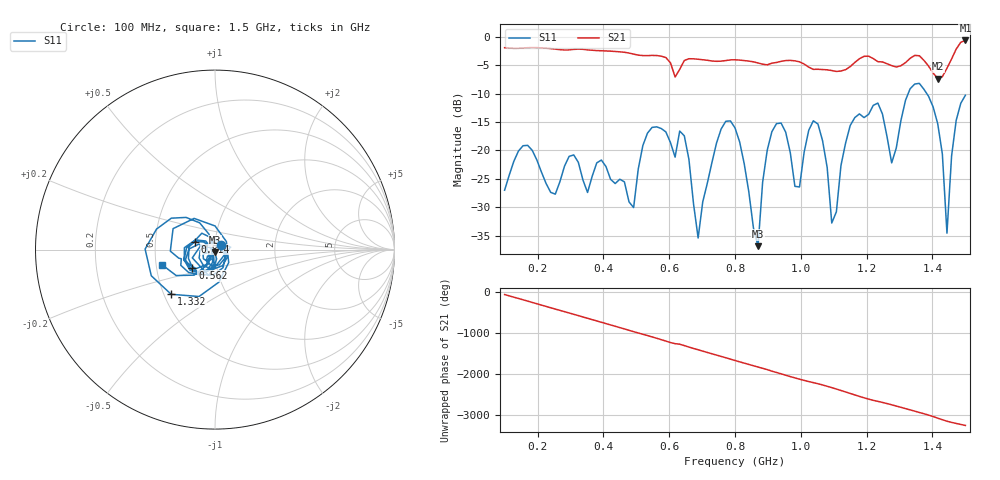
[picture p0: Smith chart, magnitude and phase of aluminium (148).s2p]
! NanoVNA-App
! Date: 2025-09-25 14:56:26
! Start: 100MHz Stop: 1,5GHz Points: 101
! S-Parameter data: F S11 S21 S12 S22
# Hz S RI R 50
!  Frequency  S11_Real  S11_Imag  S21_Real  S21_Imag  S12_Real  S12_Imag  S22_Real  S22_Imag
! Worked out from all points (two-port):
!   101 points, 100 MHz to 1.5 GHz, reference 50 ohm
!   highest |S21| = -0.65 dB at 1.5 GHz (marker M1); lowest = -7.4 dB at 1.416 GHz (marker M2)
!   |S21| within 3 dB of the highest: start of sweep to 589.3 MHz; 1.46 GHz to end of sweep (the widest 2 of 4)
!   lowest |S11| = -36.8 dB at 870 MHz (marker M3), VSWR 1.03, Z = 49.8 - j1.43 ohm
!   |S11| at or under -10 dB: start of sweep to 1.326 GHz; 1.383 GHz to end of sweep
!   S12 and S22 are empty: the file has one direction only
!   S11 on the Smith chart (normalised r, x): 100 MHz: 1.07, +0.06; 562 MHz: 0.76, -0.16; 814 MHz: 0.80, +0.07; 1.332 GHz: 0.55, -0.31; 1.5 GHz: 0.54, -0.10
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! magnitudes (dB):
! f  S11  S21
! 100 MHz  -27.0  -1.9
! 338 MHz  -25.2  -2.2
! 492 MHz  -30.1  -3.1
! 562 MHz  -15.8  -3.3
! 576 MHz  -16.1  -3.4
! 646 MHz  -17.4  -4.2
! 688 MHz  -35.4  -4.0
! 800 MHz  -16.0  -4.0
! 814 MHz  -18.5  -4.1
! 870 MHz  -36.8  -4.6
! 912 MHz  -16.7  -4.6
! 996 MHz  -26.4  -4.4
! 1.038 GHz  -14.8  -5.7
! 1.094 GHz  -32.8  -5.9
! 1.164 GHz  -14.2  -4.5
! 1.234 GHz  -11.7  -4.4
! 1.276 GHz  -22.2  -5.1
! 1.332 GHz  -9.2  -3.8
! 1.416 GHz  -15.3  -7.4
! 1.444 GHz  -34.6  -5.5
! 1.472 GHz  -14.7  -2.2
! 1.5 GHz  -10.3  -0.6
